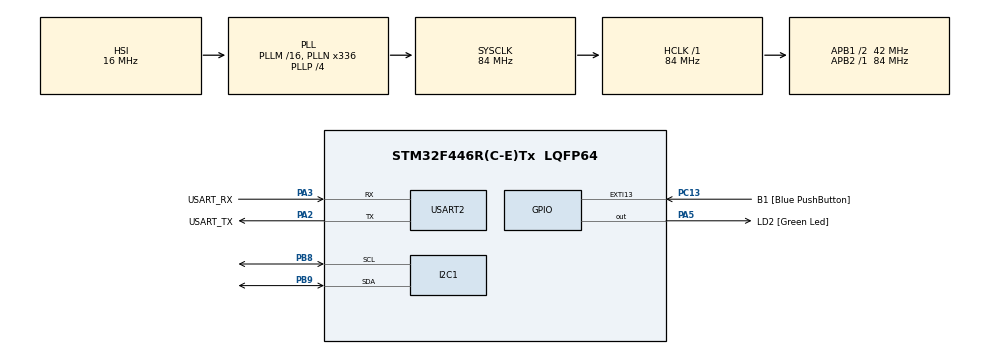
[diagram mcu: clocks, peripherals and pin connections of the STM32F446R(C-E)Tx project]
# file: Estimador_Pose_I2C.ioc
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I2C1.I2C_Mode=I2C_Fast
Mcu.Family=STM32F4
Mcu.Name=STM32F446R(C-E)Tx
Mcu.Package=LQFP64
NVIC.PriorityGroup=NVIC_PRIORITYGROUP_0
NVIC.TIM1_TRG_COM_TIM11_IRQn=true\:0\:0\:false\:false\:true\:true\:true\:true
PA13.GPIO_Label=TMS
PA13.Mode=Serial_Wire
PA13.Signal=SYS_JTMS-SWDIO
PA14.GPIO_Label=TCK
PA14.Mode=Serial_Wire
PA14.Signal=SYS_JTCK-SWCLK
PA2.GPIO_Label=USART_TX
PA2.Mode=Asynchronous
PA2.Signal=USART2_TX
PA3.GPIO_Label=USART_RX
PA3.Mode=Asynchronous
PA3.Signal=USART2_RX
PA5.GPIO_Label=LD2 [Green Led]
PA5.Signal=GPIO_Output
PB3.GPIO_Label=SWO
PB3.Signal=SYS_JTDO-SWO
PB8.GPIO_Pu=GPIO_PULLUP
PB8.Mode=I2C
PB8.Signal=I2C1_SCL
PB9.GPIO_Pu=GPIO_PULLUP
PB9.Mode=I2C
PB9.Signal=I2C1_SDA
PC13.GPIO_Label=B1 [Blue PushButton]
PC13.GPIO_ModeDefaultEXTI=GPIO_MODE_IT_FALLING
PC13.Signal=GPXTI13
PC14-OSC32_IN.Mode=LSE-External-Oscillator
PC14-OSC32_IN.Signal=RCC_OSC32_IN
PC15-OSC32_OUT.Mode=LSE-External-Oscillator
PC15-OSC32_OUT.Signal=RCC_OSC32_OUT
PH0-OSC_IN.Mode=HSE-External-Oscillator
PH0-OSC_IN.Signal=RCC_OSC_IN
PH1-OSC_OUT.Mode=HSE-External-Oscillator
PH1-OSC_OUT.Signal=RCC_OSC_OUT
ProjectManager.HeapSize=0x200
ProjectManager.StackSize=0x400
ProjectManager.TargetToolchain=STM32CubeIDE
RCC.48MHZClocksFreq_Value=84000000
RCC.AHBFreq_Value=84000000
RCC.APB1CLKDivider=RCC_HCLK_DIV2
RCC.APB1Freq_Value=42000000
RCC.APB1TimFreq_Value=84000000
RCC.APB2Freq_Value=84000000
RCC.APB2TimFreq_Value=84000000
RCC.CortexFreq_Value=84000000
RCC.FLatency-AdvancedSettings=FLASH_LATENCY_2
RCC.HCLKFreq_Value=84000000
RCC.HSE_VALUE=8000000
RCC.HSI_VALUE=16000000
RCC.PLLN=336
RCC.PLLP=RCC_PLLP_DIV4
RCC.SYSCLKFreq_VALUE=84000000
RCC.SYSCLKSource=RCC_SYSCLKSOURCE_PLLCLK
RCC.USBFreq_Value=168000000
RCC.VCOOutputFreq_Value=336000000
USART2.VirtualMode=VM_ASYNC
VP_TIM11_VS_ClockSourceINT.Mode=Enable_Timer
board=NUCLEO-F446RE

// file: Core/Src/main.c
/* USER CODE BEGIN Header */
/**
  ******************************************************************************
  * @file           : main.c
  * @brief          : Leitura MPU6050 com Filtro Complementar e Display OLED
  ******************************************************************************
  */
/* USER CODE END Header */
#include "main.h"

/* USER CODE BEGIN Includes */
#include <string.h>
#include <stdio.h>
#include <math.h>
#include "ssd1306.h"
#include "fonts.h"
/* USER CODE END Includes */

/* USER CODE BEGIN PD */
#define MPU6050_ADDR (0x68 << 1)
#define WHO_AM_I_REG  0x75
#define PWR_MGMT_1_REG 0X6B
#define ACCEL_XOUT_H_REG 0x3B
/* USER CODE END PD */

I2C_HandleTypeDef hi2c1;

TIM_HandleTypeDef htim11;

UART_HandleTypeDef huart2;

void SystemClock_Config(void);
static void MX_GPIO_Init(void);
static void MX_I2C1_Init(void);
static void MX_TIM11_Init(void);
static void MX_USART2_UART_Init(void);

int main(void)
{

  /* MCU Configuration--------------------------------------------------------*/

  /* Reset of all peripherals, Initializes the Flash interface and the Systick. */
  HAL_Init();

  /* Configure the system clock */
  SystemClock_Config();

  /* Initialize all configured peripherals */
  MX_GPIO_Init();
  MX_I2C1_Init();
  MX_TIM11_Init();
  MX_USART2_UART_Init();

  /* USER CODE BEGIN 2 */
  uint8_t check;
  uint8_t data;
  char msg[100];
  uint8_t rec_data[14];
  int16_t accel_x_raw, accel_y_raw, accel_z_raw;
  int16_t gyro_x_raw, gyro_y_raw, gyro_z_raw;
  float Ax, Ay, Az, Gx, Gy, Gz;

  // Vars do filtro complementar
  float roll = 0, pitch = 0, yaw = 0;
  float accel_roll, accel_pitch;
  float alpha = 0.96;
  float dt = 0.0;
  uint32_t tempo_anterior = 0;

  // Verifica se o MPU6050 responde no endereco esperado
  HAL_I2C_Mem_Read(&hi2c1, MPU6050_ADDR, WHO_AM_I_REG, 1, &check, 1, 1000);

  if (check == 0x68){
    sprintf(msg,"MPU6050 OK!\r\n");
    HAL_UART_Transmit(&huart2,(uint8_t*)msg, strlen(msg),100);

    // Tira o MPU do modo sleep
    data = 0x00;
    HAL_I2C_Mem_Write(&hi2c1,MPU6050_ADDR,PWR_MGMT_1_REG,1,&data,1,1000);
  }
  else{
    sprintf(msg,"ERRO: MPU6050 NAO ENCONTRADO\r\n");
    HAL_UART_Transmit(&huart2,(uint8_t*)msg,strlen(msg),100);
  }

  ssd1306_Init(&hi2c1);
  /* USER CODE END 2 */

  /* Infinite loop */
  while (1)
  {

    /* USER CODE BEGIN 3 */

    // Leitura bruta dos dados de aceleracao e giroscopio
    HAL_I2C_Mem_Read(&hi2c1, MPU6050_ADDR, ACCEL_XOUT_H_REG, 1, rec_data, 14, 1000);

    accel_x_raw = (int16_t)(rec_data[0] << 8 | rec_data[1]);
    accel_y_raw = (int16_t)(rec_data[2] << 8 | rec_data[3]);
    accel_z_raw = (int16_t)(rec_data[4] << 8 | rec_data[5]);

    gyro_x_raw = (int16_t)(rec_data[8] << 8 | rec_data[9]);
    gyro_y_raw = (int16_t)(rec_data[10] << 8 | rec_data[11]);
    gyro_z_raw = (int16_t)(rec_data[12] << 8 | rec_data[13]);

    // Conversao para g e graus/s de acordo com o fundo de escala default
    Ax = accel_x_raw / 16384.0;
    Ay = accel_y_raw / 16384.0;
    Az = accel_z_raw / 16384.0;

    Gx = gyro_x_raw / 131.0;
    Gy = gyro_y_raw / 131.0;
    Gz = gyro_z_raw / 131.0;

    // Filtro para ignorar pequenos ruidos no eixo Z
    if (Gz > -3.0 && Gz < 3.0) { Gz = 0.0; }

    // Calcula o dt para a integracao do giroscopio
    uint32_t tempo_atual = HAL_GetTick();
    dt = (tempo_atual - tempo_anterior) / 1000.0;
    tempo_anterior = tempo_atual;

    // Angulos baseados apenas no acelerometro
    accel_roll = atan2(Ay, Az) * 180.0 / 3.14159;
    accel_pitch = atan2(-Ax, sqrt(Ay * Ay + Az * Az)) * 180.0 / 3.14159;

    // Aplicacao do filtro complementar
    roll = alpha * (roll + Gx * dt) + (1.0 - alpha) * accel_roll;
    pitch = alpha * (pitch + Gy * dt) + (1.0 - alpha) * accel_pitch;
    yaw = yaw + (Gz * dt);

    // Print de debug via UART
    sprintf(msg, "R: %.1f | P: %.1f | Y: %.1f\r\n", roll, pitch, yaw);
    HAL_UART_Transmit(&huart2, (uint8_t*)msg, strlen(msg), 100);

    // --- Atualizacao do Display OLED ---
    ssd1306_Fill(Black);

    // Mostra os valores textuais na esquerda
    char str_roll[20], str_pitch[20], str_yaw[20];
    sprintf(str_roll, "Rol:%.0f", roll);
    sprintf(str_pitch, "Arf:%.0f", pitch);
    sprintf(str_yaw, "Gui:%.0f", yaw);

    ssd1306_SetCursor(0, 5);
    ssd1306_WriteString(str_roll, Font_7x10, White);

    ssd1306_SetCursor(0, 25);
    ssd1306_WriteString(str_pitch, Font_7x10, White);

    ssd1306_SetCursor(0, 45);
    ssd1306_WriteString(str_yaw, Font_7x10, White);

    // Logica da animacao visual na direita
    int cx = 96;
    int cy = 32;
    float ganho = 0.6f;

    int pos_x = cx + (int)(roll * ganho);
    int pos_y = cy - (int)(pitch * ganho);

    // Trava o indicador para nao sobrepor o texto
    if(pos_x < 64) pos_x = 64;
    if(pos_x > 127) pos_x = 127;
    if(pos_y < 0) pos_y = 0;
    if(pos_y > 63) pos_y = 63;

    // Desenha as retas dos eixos
    for(int i = 64; i < 128; i++) { ssd1306_DrawPixel(i, cy, White); }
    for(int i = 0; i < 64; i++) { ssd1306_DrawPixel(cx, i, White); }

    // Desenha o ponto que se move com os angulos
    ssd1306_DrawPixel(pos_x, pos_y, White);
    ssd1306_DrawPixel(pos_x + 1, pos_y, White);
    ssd1306_DrawPixel(pos_x - 1, pos_y, White);
    ssd1306_DrawPixel(pos_x, pos_y + 1, White);
    ssd1306_DrawPixel(pos_x, pos_y - 1, White);

    ssd1306_UpdateScreen(&hi2c1);

    HAL_Delay(10);

  }
  /* USER CODE END 3 */
}

void SystemClock_Config(void)
{
  RCC_OscInitTypeDef RCC_OscInitStruct = {0};
  RCC_ClkInitTypeDef RCC_ClkInitStruct = {0};

  __HAL_RCC_PWR_CLK_ENABLE();
  __HAL_PWR_VOLTAGESCALING_CONFIG(PWR_REGULATOR_VOLTAGE_SCALE3);

  RCC_OscInitStruct.OscillatorType = RCC_OSCILLATORTYPE_HSI;
  RCC_OscInitStruct.HSIState = RCC_HSI_ON;
  RCC_OscInitStruct.HSICalibrationValue = RCC_HSICALIBRATION_DEFAULT;
  RCC_OscInitStruct.PLL.PLLState = RCC_PLL_ON;
  RCC_OscInitStruct.PLL.PLLSource = RCC_PLLSOURCE_HSI;
  RCC_OscInitStruct.PLL.PLLM = 16;
  RCC_OscInitStruct.PLL.PLLN = 336;
  RCC_OscInitStruct.PLL.PLLP = RCC_PLLP_DIV4;
  RCC_OscInitStruct.PLL.PLLQ = 2;
  RCC_OscInitStruct.PLL.PLLR = 2;
  if (HAL_RCC_OscConfig(&RCC_OscInitStruct) != HAL_OK)
  {
    Error_Handler();
  }

  RCC_ClkInitStruct.ClockType = RCC_CLOCKTYPE_HCLK|RCC_CLOCKTYPE_SYSCLK
                              |RCC_CLOCKTYPE_PCLK1|RCC_CLOCKTYPE_PCLK2;
  RCC_ClkInitStruct.SYSCLKSource = RCC_SYSCLKSOURCE_PLLCLK;
  RCC_ClkInitStruct.AHBCLKDivider = RCC_SYSCLK_DIV1;
  RCC_ClkInitStruct.APB1CLKDivider = RCC_HCLK_DIV2;
  RCC_ClkInitStruct.APB2CLKDivider = RCC_HCLK_DIV1;

  if (HAL_RCC_ClockConfig(&RCC_ClkInitStruct, FLASH_LATENCY_2) != HAL_OK)
  {
    Error_Handler();
  }
}

static void MX_I2C1_Init(void)
{
  hi2c1.Instance = I2C1;
  hi2c1.Init.ClockSpeed = 400000;
  hi2c1.Init.DutyCycle = I2C_DUTYCYCLE_2;
  hi2c1.Init.OwnAddress1 = 0;
  hi2c1.Init.AddressingMode = I2C_ADDRESSINGMODE_7BIT;
  hi2c1.Init.DualAddressMode = I2C_DUALADDRESS_DISABLE;
  hi2c1.Init.OwnAddress2 = 0;
  hi2c1.Init.GeneralCallMode = I2C_GENERALCALL_DISABLE;
  hi2c1.Init.NoStretchMode = I2C_NOSTRETCH_DISABLE;
  if (HAL_I2C_Init(&hi2c1) != HAL_OK)
  {
    Error_Handler();
  }
}

static void MX_TIM11_Init(void)
{
  htim11.Instance = TIM11;
  htim11.Init.Prescaler = 0;
  htim11.Init.CounterMode = TIM_COUNTERMODE_UP;
  htim11.Init.Period = 65535;
  htim11.Init.ClockDivision = TIM_CLOCKDIVISION_DIV1;
  htim11.Init.AutoReloadPreload = TIM_AUTORELOAD_PRELOAD_DISABLE;
  if (HAL_TIM_Base_Init(&htim11) != HAL_OK)
  {
    Error_Handler();
  }
}

static void MX_USART2_UART_Init(void)
{
  huart2.Instance = USART2;
  huart2.Init.BaudRate = 115200;
  huart2.Init.WordLength = UART_WORDLENGTH_8B;
  huart2.Init.StopBits = UART_STOPBITS_1;
  huart2.Init.Parity = UART_PARITY_NONE;
  huart2.Init.Mode = UART_MODE_TX_RX;
  huart2.Init.HwFlowCtl = UART_HWCONTROL_NONE;
  huart2.Init.OverSampling = UART_OVERSAMPLING_16;
  if (HAL_UART_Init(&huart2) != HAL_OK)
  {
    Error_Handler();
  }
}

static void MX_GPIO_Init(void)
{
  GPIO_InitTypeDef GPIO_InitStruct = {0};

  __HAL_RCC_GPIOC_CLK_ENABLE();
  __HAL_RCC_GPIOH_CLK_ENABLE();
  __HAL_RCC_GPIOA_CLK_ENABLE();
  __HAL_RCC_GPIOB_CLK_ENABLE();

  HAL_GPIO_WritePin(LD2_GPIO_Port, LD2_Pin, GPIO_PIN_RESET);

  GPIO_InitStruct.Pin = B1_Pin;
  GPIO_InitStruct.Mode = GPIO_MODE_IT_FALLING;
  GPIO_InitStruct.Pull = GPIO_NOPULL;
  HAL_GPIO_Init(B1_GPIO_Port, &GPIO_InitStruct);

  GPIO_InitStruct.Pin = LD2_Pin;
  GPIO_InitStruct.Mode = GPIO_MODE_OUTPUT_PP;
  GPIO_InitStruct.Pull = GPIO_NOPULL;
  GPIO_InitStruct.Speed = GPIO_SPEED_FREQ_LOW;
  HAL_GPIO_Init(LD2_GPIO_Port, &GPIO_InitStruct);
}

void Error_Handler(void)
{
  __disable_irq();
  while (1)
  {
  }
}
